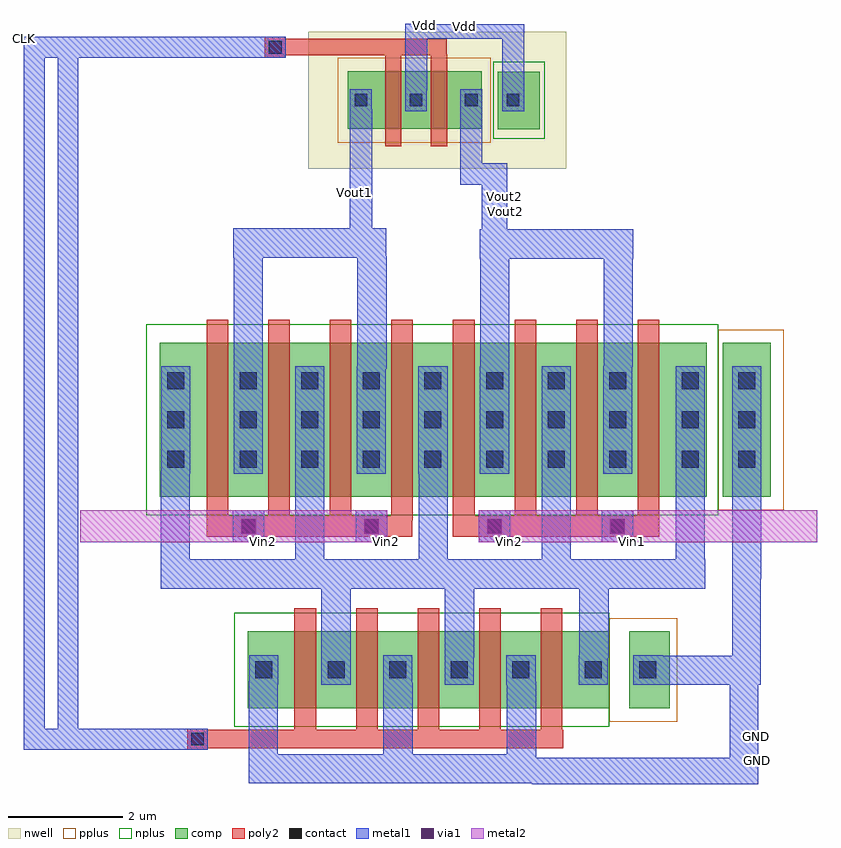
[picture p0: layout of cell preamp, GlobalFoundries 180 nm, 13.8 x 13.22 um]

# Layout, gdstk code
import gdstk
lib = gdstk.Library(unit=1e-6, precision=5e-09)
def R(c, l, rs):  # rectangles x0, y0, x1, y1
    for r in rs: c.add(gdstk.rectangle(r[:2], r[2:], *l))
def A(c, l, x, y, w, h, nx, ny, dx, dy):  # array of equal rectangles
    R(c, l, [(x+i*dx, y+j*dy, x+i*dx+w, y+j*dy+h) for i in range(nx) for j in range(ny)])
def P(c, l, *ps):  # polygons
    for p in ps: c.add(gdstk.Polygon(p, *l))
nwell = (21, 0)
comp = (22, 0)
poly2 = (30, 0)
pplus = (31, 0)
nplus = (32, 0)
contact = (33, 0)
metal1 = (34, 0)
via1 = (35, 0)
metal2 = (36, 0)

nfet = lib.new_cell('nfet')
R(nfet, comp, [(-0.42,0,0,2), (0,0,6.26,2), (6.26,0,6.685,2), (6.895,0,7.515,2)])
A(nfet, poly2, 0.19, -0.3, 0.28, 2.6, 8, 1, 0.8, 0)
R(nfet, pplus, [(6.835,-0.17,7.685,2.17)])
R(nfet, nplus, [(-0.59,-0.24,6.835,2.24)])
A(nfet, contact, -0.32, 0.38, 0.22, 0.22, 1, 3, 0, 0.51)
A(nfet, contact, 0.62, 0.38, 0.22, 0.22, 7, 3, 0.8, 0.51)
A(nfet, contact, 6.36, 0.38, 0.22, 0.22, 1, 3, 0, 0.51)
A(nfet, contact, 7.095, 0.38, 0.22, 0.22, 1, 3, 0, 0.51)
A(nfet, metal1, 0.54, 0.3, 0.38, 1.4, 7, 1, 0.8, 0)
R(nfet, metal1, [(-0.4,0.3,-0.02,1.7), (6.28,0.3,6.66,1.7), (7.015,0.3,7.395,1.7)])

nfet_3 = lib.new_cell('nfet$3')
R(nfet_3, comp, [(-0.42,0,0,1), (0,0,3.86,1), (3.86,0,4.28,1), (4.535,0,5.065,1)])
A(nfet_3, poly2, 0.19, -0.3, 0.28, 1.6, 5, 1, 0.8, 0)
R(nfet_3, pplus, [(4.28,-0.17,5.16,1.17)])
R(nfet_3, nplus, [(-0.59,-0.24,4.28,1.24)])
A(nfet_3, contact, 0.62, 0.39, 0.22, 0.22, 4, 1, 0.8, 0)
R(nfet_3, contact, [(-0.32,0.39,-0.1,0.61), (3.96,0.39,4.18,0.61), (4.67,0.39,4.89,0.61)])
A(nfet_3, metal1, 0.54, 0.31, 0.38, 0.38, 4, 1, 0.8, 0)
R(nfet_3, metal1, [(-0.4,0.31,-0.02,0.69), (3.88,0.31,4.26,0.69), (4.59,0.31,4.97,0.69)])

pfet = lib.new_cell('pfet')
R(pfet, nwell, [(-1.15,-0.69,3.34,1.69)])
R(pfet, comp, [(2.15,-0.005,2.88,0.995), (-0.46,0,0,1), (0,0,1.46,1), (1.46,0,1.87,1)])
R(pfet, poly2, [(0.19,-0.3,0.47,1.3), (0.99,-0.3,1.27,1.3)])
R(pfet, pplus, [(-0.63,-0.24,2.03,1.24)])
R(pfet, nplus, [(2.07,-0.17,2.97,1.17)])
A(pfet, contact, -0.34, 0.39, 0.22, 0.22, 3, 1, 0.96, 0)
R(pfet, contact, [(2.31,0.39,2.53,0.61)])
A(pfet, metal1, -0.42, 0.31, 0.38, 0.38, 3, 1, 0.96, 0)
R(pfet, metal1, [(2.23,0.31,2.61,0.69)])

via_dev = lib.new_cell('via_dev')
R(via_dev, metal1, [(0,0,0.55,0.55)])
R(via_dev, via1, [(0.145,0.145,0.405,0.405)])
R(via_dev, metal2, [(0,0,0.55,0.55)])

preamp = lib.new_cell('preamp')
R(preamp, poly2, [(-0.77,-4.68,-0.41,-4.32), (-0.57,-4.655,5.78,-4.34), (-0.43,-0.975,3.15,-0.615), (3.855,-0.975,7.45,-0.615), (0.585,7.36,0.945,7.72), (0.93,7.4,3.75,7.685)])
A(preamp, contact, 0.19, -0.905, 0.22, 0.22, 4, 1, 2.14, 0)
R(preamp, contact, [(-0.7,-4.61,-0.48,-4.39), (0.655,7.43,0.875,7.65)])
R(preamp, metal1, [(0.305,-5.27,5.29,-4.76), (2.645,-4.965,3.155,-3.52), (0.3,-4.945,0.81,-3.495), (4.795,-4.93,5.305,-3.505), (-3.61,-4.68,-0.41,-4.32), (-3.61,-4.34,-3.25,7.7), (-3.02,-4.32,-2.66,7.72), (1.565,-3.1,2.075,-1.795), (3.715,-3.085,4.225,-1.76), (6.055,-3.08,6.565,-1.76), (-1.23,-1.88,8.25,-1.37), (7.73,-1.795,8.24,0.155), (-1.23,-1.6,-0.72,0.15), (1.11,-1.6,1.62,0.14), (3.26,-1.6,3.77,0.15), (5.4,-1.6,5.91,0.15), (0.025,-1.07,0.575,-0.52), (0.025,-1.07,0.575,-0.52), (0.025,-1.07,0.575,-0.52), (2.165,-1.07,2.715,-0.52), (2.165,-1.07,2.715,-0.52), (4.305,-1.07,4.855,-0.52), (0.04,1.95,0.55,3.9), (2.195,1.95,2.705,3.9), (4.33,1.95,4.84,3.88), (6.48,1.98,6.99,3.885), (4.32,3.86,6.995,4.37), (0.035,3.88,2.7,4.39), (2.065,4.305,2.45,6.46), (3.025,6.79,3.41,7.945), (-3.61,7.36,0.945,7.72)])
P(preamp, metal1, [(7.5,-3.55),(7.5,-3.05),(8.715,-3.05),(8.715,0.12),(9.225,0.12),(9.215,-3.55)],
  [(5.225,-5.28),(5.225,-4.82),(8.67,-4.82),(8.67,-3.515),(9.17,-3.515),(9.17,-5.28)],
  [(4.355,4.31),(4.355,5.15),(3.985,5.15),(3.985,6.435),(4.365,6.435),(4.365,5.525),(4.805,5.525),(4.805,4.31)],
  [(4.715,6.805),(4.715,7.69),(3.355,7.69),(3.355,7.94),(5.095,7.94),(5.095,6.805)])
R(preamp, via1, [(0.17,-0.925,0.43,-0.665), (0.17,-0.925,0.43,-0.665), (0.17,-0.925,0.43,-0.665), (2.31,-0.925,2.57,-0.665), (2.31,-0.925,2.57,-0.665), (4.45,-0.925,4.71,-0.665)])
R(preamp, metal2, [(-2.63,-1.07,2.715,-0.52), (0.025,-1.07,0.575,-0.52), (0.025,-1.07,0.575,-0.52), (0.025,-1.07,0.575,-0.52), (2.165,-1.07,2.715,-0.52), (2.165,-1.07,2.715,-0.52), (4.305,-1.07,4.855,-0.52), (4.85,-1.07,10.195,-0.52)])
preamp.add(gdstk.Reference(nfet, (-0.685,-0.285), magnification=1.34))
preamp.add(gdstk.Reference(nfet_3, (0.845,-3.965), magnification=1.34))
preamp.add(gdstk.Reference(pfet, (2.485,6.12)))
r = gdstk.Reference(via_dev, (6.445,-1.07)); r.repetition = gdstk.Repetition(1, 1, v1=(0,0), v2=(0,0)); preamp.add(r)
r = gdstk.Reference(via_dev, (4.305,-1.07)); r.repetition = gdstk.Repetition(1, 1, v1=(0,0), v2=(0,0)); preamp.add(r)
r = gdstk.Reference(via_dev, (2.165,-1.07)); r.repetition = gdstk.Repetition(1, 1, v1=(0,0), v2=(0,0)); preamp.add(r)
r = gdstk.Reference(via_dev, (0.025,-1.07)); r.repetition = gdstk.Repetition(1, 1, v1=(0,0), v2=(0,0)); preamp.add(r)
preamp.add(gdstk.Label('CLK', (-3.595,7.7), layer=34, texttype=0))
preamp.add(gdstk.Label('GND', (9.16,-4.875), layer=34, texttype=0))
preamp.add(gdstk.Label('Vdd', (3.37,7.915), layer=34, texttype=0))
preamp.add(gdstk.Label('Vout1', (2.14,5.015), layer=34, texttype=0))
preamp.add(gdstk.Label('Vout2', (4.76,4.945), layer=34, texttype=0))
preamp.add(gdstk.Label('Vout2', (4.775,4.69), layer=34, texttype=10))
preamp.add(gdstk.Label('Vout1', (2.105,4.815), layer=34, texttype=10))
preamp.add(gdstk.Label('GND', (9.14,-4.445), layer=34, texttype=10))
preamp.add(gdstk.Label('Vdd', (4.055,7.9), layer=34, texttype=10))
preamp.add(gdstk.Label('CLK', (-3.59,7.56), layer=34, texttype=10))
preamp.add(gdstk.Label('Vin1', (6.98,-1.06), layer=36, texttype=10))
preamp.add(gdstk.Label('Vin2', (4.84,-1.06), layer=36, texttype=10))
preamp.add(gdstk.Label('Vin2', (2.7,-1.06), layer=36, texttype=10))
preamp.add(gdstk.Label('Vin2', (0.56,-1.06), layer=36, texttype=10))

lib.write_gds('preamp.gds')
